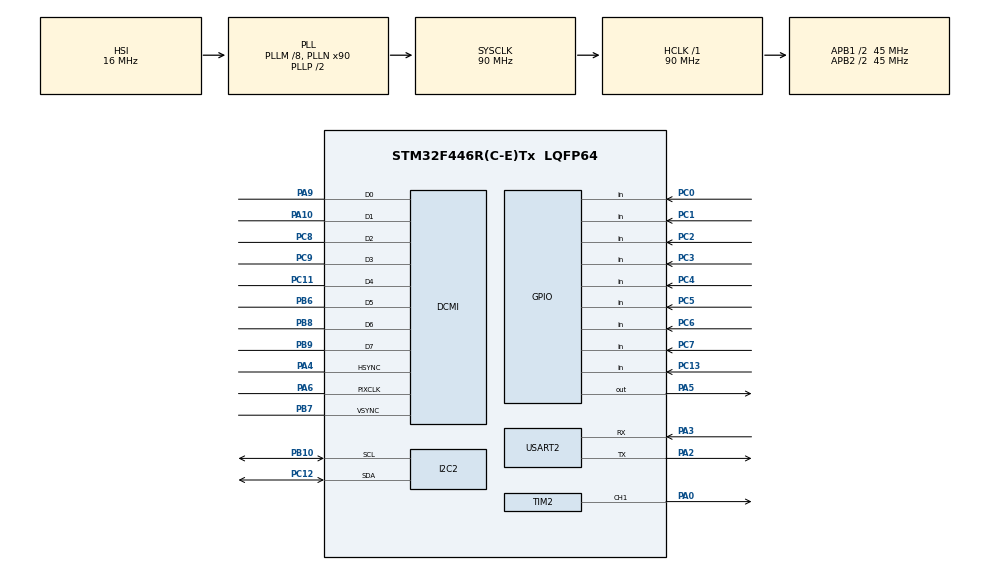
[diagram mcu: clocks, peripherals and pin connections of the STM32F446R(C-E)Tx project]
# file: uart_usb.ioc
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DCMI.ByteSelectMode=DCMI_BSM_OTHER
DCMI.HSPolarity=DCMI_HSPOLARITY_LOW
DCMI.PCKPolarity=DCMI_PCKPOLARITY_RISING
DCMI.VSPolarity=DCMI_VSPOLARITY_HIGH
Dma.DCMI.1.Direction=DMA_PERIPH_TO_MEMORY
Dma.DCMI.1.FIFOMode=DMA_FIFOMODE_DISABLE
Dma.DCMI.1.Instance=DMA2_Stream1
Dma.DCMI.1.MemDataAlignment=DMA_MDATAALIGN_WORD
Dma.DCMI.1.MemInc=DMA_MINC_ENABLE
Dma.DCMI.1.Mode=DMA_NORMAL
Dma.DCMI.1.PeriphDataAlignment=DMA_PDATAALIGN_WORD
Dma.DCMI.1.PeriphInc=DMA_PINC_DISABLE
Dma.DCMI.1.Priority=DMA_PRIORITY_LOW
Dma.MEMTOMEM.0.Direction=DMA_MEMORY_TO_MEMORY
Dma.MEMTOMEM.0.FIFOMode=DMA_FIFOMODE_ENABLE
Dma.MEMTOMEM.0.FIFOThreshold=DMA_FIFO_THRESHOLD_FULL
Dma.MEMTOMEM.0.Instance=DMA2_Stream0
Dma.MEMTOMEM.0.MemBurst=DMA_MBURST_SINGLE
Dma.MEMTOMEM.0.MemDataAlignment=DMA_MDATAALIGN_BYTE
Dma.MEMTOMEM.0.MemInc=DMA_MINC_ENABLE
Dma.MEMTOMEM.0.Mode=DMA_NORMAL
Dma.MEMTOMEM.0.PeriphBurst=DMA_PBURST_SINGLE
Dma.MEMTOMEM.0.PeriphDataAlignment=DMA_PDATAALIGN_BYTE
Dma.MEMTOMEM.0.PeriphInc=DMA_PINC_ENABLE
Dma.MEMTOMEM.0.Priority=DMA_PRIORITY_LOW
Dma.Request0=MEMTOMEM
Dma.Request1=DCMI
Mcu.Family=STM32F4
Mcu.Name=STM32F446R(C-E)Tx
Mcu.Package=LQFP64
NVIC.DMA2_Stream1_IRQn=true\:0\:0\:false\:false\:true\:false\:true
NVIC.PriorityGroup=NVIC_PRIORITYGROUP_4
NVIC.RCC_IRQn=true\:0\:0\:false\:true\:true\:1\:true\:false
PA0-WKUP.GPIO_Speed=GPIO_SPEED_FREQ_VERY_HIGH
PA0-WKUP.Signal=S_TIM2_CH1_ETR
PA10.GPIO_Speed=GPIO_SPEED_FREQ_VERY_HIGH
PA10.Mode=Slave_8_bits_External_Synchro
PA10.Signal=DCMI_D1
PA2.Mode=Asynchronous
PA2.Signal=USART2_TX
PA3.Mode=Asynchronous
PA3.Signal=USART2_RX
PA4.GPIO_Speed=GPIO_SPEED_FREQ_VERY_HIGH
PA4.Mode=Slave_8_bits_External_Synchro
PA4.Signal=DCMI_HSYNC
PA5.Signal=GPIO_Output
PA6.GPIO_Speed=GPIO_SPEED_FREQ_VERY_HIGH
PA6.Mode=Slave_8_bits_External_Synchro
PA6.Signal=DCMI_PIXCLK
PA9.GPIO_Speed=GPIO_SPEED_FREQ_VERY_HIGH
PA9.Mode=Slave_8_bits_External_Synchro
PA9.Signal=DCMI_D0
PB10.Mode=I2C
PB10.Signal=I2C2_SCL
PB6.GPIO_Speed=GPIO_SPEED_FREQ_VERY_HIGH
PB6.Mode=Slave_8_bits_External_Synchro
PB6.Signal=DCMI_D5
PB7.GPIO_Speed=GPIO_SPEED_FREQ_VERY_HIGH
PB7.Mode=Slave_8_bits_External_Synchro
PB7.Signal=DCMI_VSYNC
PB8.GPIO_Speed=GPIO_SPEED_FREQ_VERY_HIGH
PB8.Mode=Slave_8_bits_External_Synchro
PB8.Signal=DCMI_D6
PB9.GPIO_Speed=GPIO_SPEED_FREQ_VERY_HIGH
PB9.Mode=Slave_8_bits_External_Synchro
PB9.Signal=DCMI_D7
PC0.GPIO_PuPd=GPIO_PULLUP
PC0.Signal=GPIO_Input
PC1.GPIO_PuPd=GPIO_PULLUP
PC1.Signal=GPIO_Input
PC11.GPIO_Speed=GPIO_SPEED_FREQ_VERY_HIGH
PC11.Mode=Slave_8_bits_External_Synchro
PC11.Signal=DCMI_D4
PC12.Mode=I2C
PC12.Signal=I2C2_SDA
PC13.GPIO_PuPd=GPIO_NOPULL
PC13.Signal=GPIO_Input
PC2.GPIO_PuPd=GPIO_PULLUP
PC2.Signal=GPIO_Input
PC3.GPIO_PuPd=GPIO_PULLUP
PC3.Signal=GPIO_Input
PC4.GPIO_PuPd=GPIO_PULLUP
PC4.Signal=GPIO_Input
PC5.GPIO_PuPd=GPIO_PULLUP
PC5.Signal=GPIO_Input
PC6.GPIO_PuPd=GPIO_PULLUP
PC6.Signal=GPIO_Input
PC7.GPIO_PuPd=GPIO_PULLUP
PC7.Signal=GPIO_Input
PC8.GPIO_Speed=GPIO_SPEED_FREQ_VERY_HIGH
PC8.Mode=Slave_8_bits_External_Synchro
PC8.Signal=DCMI_D2
PC9.GPIO_Speed=GPIO_SPEED_FREQ_VERY_HIGH
PC9.Mode=Slave_8_bits_External_Synchro
PC9.Signal=DCMI_D3
ProjectManager.HeapSize=0x200
ProjectManager.StackSize=0x400
ProjectManager.TargetToolchain=SW4STM32
RCC.AHBFreq_Value=90000000
RCC.APB1CLKDivider=RCC_HCLK_DIV2
RCC.APB1Freq_Value=45000000
RCC.APB1TimFreq_Value=90000000
RCC.APB2CLKDivider=RCC_HCLK_DIV2
RCC.APB2Freq_Value=45000000
RCC.APB2TimFreq_Value=90000000
RCC.CortexFreq_Value=90000000
RCC.HCLKFreq_Value=90000000
RCC.PLLM=8
RCC.PLLN=90
RCC.SYSCLKFreq_VALUE=90000000
RCC.SYSCLKSource=RCC_SYSCLKSOURCE_PLLCLK
RCC.USBFreq_Value=90000000
RCC.VCOOutputFreq_Value=180000000
SH.S_TIM2_CH1_ETR.0=TIM2_CH1,PWM Generation1 CH1
TIM2.Channel-PWM\ Generation1\ CH1=TIM_CHANNEL_1
TIM2.OCFastMode_PWM-PWM\ Generation1\ CH1=TIM_OCFAST_ENABLE
TIM2.Period=9
TIM2.Prescaler=5
TIM2.Pulse-PWM\ Generation1\ CH1=5
USART2.OverSampling=UART_OVERSAMPLING_8
USART2.VirtualMode=VM_ASYNC
VP_TIM2_VS_ClockSourceINT.Mode=Internal
board=custom

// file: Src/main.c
/* USER CODE BEGIN Header */
/**
  ******************************************************************************
  * @file           : main.c
  * @brief          : Main program body
  ******************************************************************************
  * @attention
  *
  * <h2><center>&copy; Copyright (c) 2019 STMicroelectronics.
  * All rights reserved.</center></h2>
  *
  * This software component is licensed by ST under BSD 3-Clause license,
  * the "License"; You may not use this file except in compliance with the
  * License. You may obtain a copy of the License at:
  *                        opensource.org/licenses/BSD-3-Clause
  *
  ******************************************************************************
  */
/* USER CODE END Header */

#include "main.h"

/* USER CODE BEGIN PD */
#define LED_PORT GPIOA
#define LED GPIO_PIN_5
#define BUTTON_PORT GPIOC
#define BUTTON GPIO_PIN_13

#define SCCB_REG_ADDR 			0x01

// OV7670 camera settings
#define OV7670_REG_NUM 			123
#define SLAVE_ADDR 0x42

// Image settings
#define IMG_ROWS   					144
#define IMG_COLUMNS   			174

typedef uint32_t RET;

#define RET_OK           0x00000000
#define RET_NO_DATA      0x00000001
#define RET_DO_NOTHING   0x00000002
#define RET_ERR          0x80000001
#define RET_ERR_OF       0x80000002
#define RET_ERR_TIMEOUT  0x80000004
#define RET_ERR_STATUS   0x80000008
#define RET_ERR_PARAM    0x80000010
#define RET_ERR_FILE     0x80000020
#define RET_ERR_MEMORY   0x80000040

#define REG_BATT 0xFF

#define OV7670_QVGA_WIDTH  320
#define OV7670_QVGA_HEIGHT 240

#ifdef __GNUC__
/* With GCC/RAISONANCE, small printf (option LD Linker->Libraries->Small printf
 set to 'Yes') calls __io_putchar() */
#define PUTCHAR_PROTOTYPE int __io_putchar(int ch)
#else
#define PUTCHAR_PROTOTYPE int fputc(int ch, FILE *f)
#endif /* __GNUC__ */

/* USER CODE END PD */

DCMI_HandleTypeDef hdcmi;
DMA_HandleTypeDef hdma_dcmi;

I2C_HandleTypeDef hi2c2;

TIM_HandleTypeDef htim2;

UART_HandleTypeDef huart2;

DMA_HandleTypeDef hdma_memtomem_dma2_stream0;
/* USER CODE BEGIN PV */

const uint8_t OV7670_reg[OV7670_REG_NUM][2] = {
		{ 0x12, 0x80 },

// Image format
		{ 0x12, 0x8 },		// 0x14 = QVGA size, RGB mode; 0x8 = QCIF, YUV, 0xc = QCIF (RGB)
		{ 0xc, 0x8 }, //
		{ 0x11, 0b1000000 }, //

		{ 0xb0, 0x84 },		//Color mode (Not documented??)

		// Hardware window
		{ 0x11, 0x01 },		//PCLK settings, 15fps
		{ 0x32, 0x80 },		//HREF
		{ 0x17, 0x17 },		//HSTART
		{ 0x18, 0x05 },		//HSTOP
		{ 0x03, 0x0a },		//VREF
		{ 0x19, 0x02 },		//VSTART
		{ 0x1a, 0x7a },		//VSTOP

		// Scalling numbers
		{ 0x70, 0x3a },		//X_SCALING
		{ 0x71, 0x35 },		//Y_SCALING
		{ 0x72, 0x11 },		//DCW_SCALING
		{ 0x73, 0xf0 },		//PCLK_DIV_SCALING
		{ 0xa2, 0x02 },		//PCLK_DELAY_SCALING

		// Matrix coefficients
		{ 0x4f, 0x80 }, //
		{ 0x50, 0x80 }, //
		{ 0x51, 0x00 }, //
		{ 0x52, 0x22 }, //
		{ 0x53, 0x5e }, //
		{ 0x54, 0x80 }, //
		{ 0x58, 0x9e },

		// Gamma curve values
		{ 0x7a, 0x20 }, //
		{ 0x7b, 0x10 }, //
		{ 0x7c, 0x1e }, //
		{ 0x7d, 0x35 }, //
		{ 0x7e, 0x5a }, //
		{ 0x7f, 0x69 }, //
		{ 0x80, 0x76 }, //
		{ 0x81, 0x80 }, //
		{ 0x82, 0x88 }, //
		{ 0x83, 0x8f }, //
		{ 0x84, 0x96 }, //
		{ 0x85, 0xa3 }, //
		{ 0x86, 0xaf }, //
		{ 0x87, 0xc4 }, //
		{ 0x88, 0xd7 }, //
		{ 0x89, 0xe8 },

		// AGC and AEC parameters
		{ 0xa5, 0x05 }, //
		{ 0xab, 0x07 }, //
		{ 0x24, 0x95 }, //
		{ 0x25, 0x33 }, //
		{ 0x26, 0xe3 }, //
		{ 0x9f, 0x78 }, //
		{ 0xa0, 0x68 }, //
		{ 0xa1, 0x03 }, //
		{ 0xa6, 0xd8 }, //
		{ 0xa7, 0xd8 }, //
		{ 0xa8, 0xf0 }, //
		{ 0xa9, 0x90 }, //
		{ 0xaa, 0x94 }, //
		{ 0x10, 0x00 },

		// AWB parameters
		{ 0x43, 0x0a }, //
		{ 0x44, 0xf0 }, //
		{ 0x45, 0x34 }, //
		{ 0x46, 0x58 }, //
		{ 0x47, 0x28 }, //
		{ 0x48, 0x3a }, //
		{ 0x59, 0x88 }, //
		{ 0x5a, 0x88 }, //
		{ 0x5b, 0x44 }, //
		{ 0x5c, 0x67 }, //
		{ 0x5d, 0x49 }, //
		{ 0x5e, 0x0e }, //
		{ 0x6c, 0x0a }, //
		{ 0x6d, 0x55 }, //
		{ 0x6e, 0x11 }, //
		{ 0x6f, 0x9f }, //
		{ 0x6a, 0x40 }, //
		{ 0x01, 0x40 }, //
		{ 0x02, 0x60 }, //
		{ 0x13, 0xe7 },

		// Additional parameters
		{ 0x34, 0x11 }, //
		{ 0x3f, 0x00 }, //
		{ 0x75, 0x05 }, //
		{ 0x76, 0xe1 }, //
		{ 0x4c, 0x00 }, //
		{ 0x77, 0x01 }, //
		{ 0xb8, 0x0a }, //
		{ 0x41, 0x18 }, //
		{ 0x3b, 0x12 }, //
		{ 0xa4, 0x88 }, //
		{ 0x96, 0x00 }, //
		{ 0x97, 0x30 }, //
		{ 0x98, 0x20 }, //
		{ 0x99, 0x30 }, //
		{ 0x9a, 0x84 }, //
		{ 0x9b, 0x29 }, //
		{ 0x9c, 0x03 }, //
		{ 0x9d, 0x4c }, //
		{ 0x9e, 0x3f }, //
		{ 0x78, 0x04 }, //
		{ 0x0e, 0x61 }, //
		{ 0x0f, 0x4b }, //
		{ 0x16, 0x02 }, //
		{ 0x1e, 0x00 }, //
		{ 0x21, 0x02 }, //
		{ 0x22, 0x91 }, //
		{ 0x29, 0x07 }, //
		{ 0x33, 0x0b }, //
		{ 0x35, 0x0b }, //
		{ 0x37, 0x1d }, //
		{ 0x38, 0x71 }, //
		{ 0x39, 0x2a }, //
		{ 0x3c, 0x78 }, //
		{ 0x4d, 0x40 }, //
		{ 0x4e, 0x20 }, //
		{ 0x69, 0x00 }, //
		{ 0x6b, 0x3a }, //
		{ 0x74, 0x10 }, //
		{ 0x8d, 0x4f }, //
		{ 0x8e, 0x00 }, //
		{ 0x8f, 0x00 }, //
		{ 0x90, 0x00 }, //
		{ 0x91, 0x00 }, //
		{ 0x96, 0x00 }, //
		{ 0x9a, 0x00 }, //
		{ 0xb1, 0x0c }, //
		{ 0xb2, 0x0e }, //
		{ 0xb3, 0x82 }, //
		{ 0x4b, 0x01 },
};

/* USER CODE END PV */

void SystemClock_Config(void);
static void MX_GPIO_Init(void);
static void MX_DMA_Init(void);
static void MX_USART2_UART_Init(void);
static void MX_TIM2_Init(void);
static void MX_DCMI_Init(void);
static void MX_I2C2_Init(void);
static void MX_NVIC_Init(void);

int main(void)
{

  /* MCU Configuration--------------------------------------------------------*/

  /* Reset of all peripherals, Initializes the Flash interface and the Systick. */
  HAL_Init();

  /* Configure the system clock */
  SystemClock_Config();

  /* Initialize all configured peripherals */
  MX_GPIO_Init();
  MX_DMA_Init();
  MX_USART2_UART_Init();
  MX_TIM2_Init();
  MX_DCMI_Init();
  MX_I2C2_Init();

  /* Initialize interrupts */
  MX_NVIC_Init();
  /* USER CODE BEGIN 2 */
  __enable_irq();
  HAL_TIM_Base_Start(&htim2);

  HAL_TIM_PWM_Start(&htim2,TIM_CHANNEL_1);

  uint8_t dat = 0x8F;
  uint8_t retDat;

//  HAL_I2C_Master_Receive(&hi2c2, 0x21, &dat, 1, 100);

//  hi2c2->Instance->DR = 0x43;
//  __HAL_I2C_ENABLE(&hi2c2);
//  SET_BIT(hi2c2.Instance->CR1, I2C_CR1_START);
//
//  hi2c2.Instance->DR = I2C_7BIT_ADD_WRITE(0x42);
//
//  SET_BIT(hi2c2.Instance->CR1, I2C_CR1_STOP);

//  I2C_MasterRequestWrite(&hi2c2, 0x21, 100, 10);
  HAL_StatusTypeDef ret;

//  ret = HAL_I2C_Mem_Write(&hi2c2, 0x81, 0x12, 1, &dat, 1, 100);
//  printf("i2c return code: %d", ret);

  printf("\r\n\r\n");

//
//  HAL_I2C_Mem_Read(&hi2c2, 0x42, 0x11, 1, &retDat, 1, 0xffff);
//  printf("i2c return val: %d\r\n", retDat);
//  HAL_Delay(4);
//  HAL_I2C_Mem_Read(&hi2c2, 0x21, 0x13, 1, &retDat, 1, 100);
//    printf("i2c return val: %d\r\n", retDat);
//    HAL_Delay(5);
//    HAL_I2C_Master_Transmit(&hi2c2, 0x21, &dat, 1, 0xffff);
//    HAL_StatusTypeDef HAL_I2C_Master_Transmit(I2C_HandleTypeDef *hi2c, uint16_t DevAddress, uint8_t *pData, uint16_t Size, uint32_t Timeout)

//HAL_I2C_Master_Receive(hi2c, DevAddress, pData, Size, Timeout)

  __HAL_TIM_SET_COMPARE()

//  SET_BIT(I2C2->CR1, I2C_CR1_POS);
//  if((&hi2c2.Instance->CCR) & I2C_CR1_PEC)
//	  printf("pec on!\r\n");

    printf("i2c setup 0x%X === 0x%x\r\n", (hi2c2.Instance->CR1 & 0xffff), I2C2->CR1);

	  printf("lock: 0x%x \r\n", hi2c2.Lock);
	  hi2c2.Lock |= HAL_LOCKED;
	  printf("lock: 0x%x \r\n", hi2c2.Lock);
	  printf("SB flag: 0x%x \r\n", hi2c2.Instance->SR1);

	  hi2c2.Instance->CR1 |= I2C_CR1_ACK;

	  I2C_RequestMemoryRead(&hi2c2, 0x43, 0x12, I2C_MEMADD_SIZE_8BIT, 100, HAL_GetTick());

  /* USER CODE END 2 */

  /* Infinite loop */
  while (1)
  {

    /* USER CODE BEGIN 3 */

//	  printf("Tim2 val: %d.\n\r", htim2.Instance->CNT);
//	  printf("ticks: %d\r\n", HAL_GetTick());
	  HAL_Delay(50);

	  I2C_RequestMemoryRead(&hi2c2, 0x43, 0x12, I2C_MEMADD_SIZE_8BIT, 100, HAL_GetTick());
//	  static HAL_StatusTypeDef I2C_RequestMemoryRead(I2C_HandleTypeDef *hi2c, uint16_t DevAddress, uint16_t MemAddress, uint16_t MemAddSize, uint32_t Timeout, uint32_t Tickstart)

//	  hi2c2.Instance->CR1 |= I2C_CR1_PE;
//	  hi2c2.Instance->CR1 |= I2C_CR1_START;
//	  printf("SB flag: 0x%x \r\n", hi2c2.Instance->SR1);
//	  hi2c2.Instance->DR = (0x43);
//	  hi2c2.Instance->CR1 |= I2C_CR1_STOP;
//	  if(!(hi2c2.Instance->SR1 & I2C_CR1_ACK))
//	  printf("no SB flag: 0x%x \r\n", hi2c2.Instance->SR1);
//	  HAL_Delay(3);
//	  hi2c2.Instance->CR1 |= I2C_CR1_START;
//	  hi2c2.Instance->DR = (0x12);
//	  HAL_Delay(5);
//	  hi2c2.Instance->CR1 |= I2C_CR1_STOP;

//	  printf("reg val: 0x%x\r\n", hi2c2.Instance->DR);

//	  hi2c2.Instance.CR1 |= I2C_CR1_STOP;
//
//	  if(HAL_GPIO_ReadPin(BUTTON_PORT, BUTTON)){
//		  HAL_TIM_Base_Start(&htim2);
//
//	  }
//	  else{
//		  HAL_TIM_Base_Stop(&htim2);
//		  printf("Button ON!\r\n");
//	  }

  }
  /* USER CODE END 3 */
}

void SystemClock_Config(void)
{
  RCC_OscInitTypeDef RCC_OscInitStruct = {0};
  RCC_ClkInitTypeDef RCC_ClkInitStruct = {0};

  /** Configure the main internal regulator output voltage
  */
  __HAL_RCC_PWR_CLK_ENABLE();
  __HAL_PWR_VOLTAGESCALING_CONFIG(PWR_REGULATOR_VOLTAGE_SCALE3);
  /** Initializes the CPU, AHB and APB busses clocks
  */
  RCC_OscInitStruct.OscillatorType = RCC_OSCILLATORTYPE_HSI;
  RCC_OscInitStruct.HSIState = RCC_HSI_ON;
  RCC_OscInitStruct.HSICalibrationValue = RCC_HSICALIBRATION_DEFAULT;
  RCC_OscInitStruct.PLL.PLLState = RCC_PLL_ON;
  RCC_OscInitStruct.PLL.PLLSource = RCC_PLLSOURCE_HSI;
  RCC_OscInitStruct.PLL.PLLM = 8;
  RCC_OscInitStruct.PLL.PLLN = 90;
  RCC_OscInitStruct.PLL.PLLP = RCC_PLLP_DIV2;
  RCC_OscInitStruct.PLL.PLLQ = 2;
  RCC_OscInitStruct.PLL.PLLR = 2;
  if (HAL_RCC_OscConfig(&RCC_OscInitStruct) != HAL_OK)
  {
    Error_Handler();
  }
  /** Initializes the CPU, AHB and APB busses clocks
  */
  RCC_ClkInitStruct.ClockType = RCC_CLOCKTYPE_HCLK|RCC_CLOCKTYPE_SYSCLK
                              |RCC_CLOCKTYPE_PCLK1|RCC_CLOCKTYPE_PCLK2;
  RCC_ClkInitStruct.SYSCLKSource = RCC_SYSCLKSOURCE_PLLCLK;
  RCC_ClkInitStruct.AHBCLKDivider = RCC_SYSCLK_DIV1;
  RCC_ClkInitStruct.APB1CLKDivider = RCC_HCLK_DIV2;
  RCC_ClkInitStruct.APB2CLKDivider = RCC_HCLK_DIV2;

  if (HAL_RCC_ClockConfig(&RCC_ClkInitStruct, FLASH_LATENCY_2) != HAL_OK)
  {
    Error_Handler();
  }
}

/**
  * @brief NVIC Configuration.
  * @retval None
  */
static void MX_NVIC_Init(void)
{
  /* RCC_IRQn interrupt configuration */
  HAL_NVIC_SetPriority(RCC_IRQn, 0, 0);
  HAL_NVIC_EnableIRQ(RCC_IRQn);
}

static void MX_DCMI_Init(void)
{

  hdcmi.Instance = DCMI;
  hdcmi.Init.SynchroMode = DCMI_SYNCHRO_HARDWARE;
  hdcmi.Init.PCKPolarity = DCMI_PCKPOLARITY_RISING;
  hdcmi.Init.VSPolarity = DCMI_VSPOLARITY_HIGH;
  hdcmi.Init.HSPolarity = DCMI_HSPOLARITY_LOW;
  hdcmi.Init.CaptureRate = DCMI_CR_ALL_FRAME;
  hdcmi.Init.ExtendedDataMode = DCMI_EXTEND_DATA_8B;
  hdcmi.Init.JPEGMode = DCMI_JPEG_DISABLE;
  hdcmi.Init.ByteSelectMode = DCMI_BSM_OTHER;
  hdcmi.Init.ByteSelectStart = DCMI_OEBS_ODD;
  hdcmi.Init.LineSelectMode = DCMI_LSM_ALL;
  hdcmi.Init.LineSelectStart = DCMI_OELS_ODD;
  if (HAL_DCMI_Init(&hdcmi) != HAL_OK)
  {
    Error_Handler();
  }

}

static void MX_I2C2_Init(void)
{

  hi2c2.Instance = I2C2;
  hi2c2.Init.ClockSpeed = 100000;
  hi2c2.Init.DutyCycle = I2C_DUTYCYCLE_2;
  hi2c2.Init.OwnAddress1 = 0;
  hi2c2.Init.AddressingMode = I2C_ADDRESSINGMODE_7BIT;
  hi2c2.Init.DualAddressMode = I2C_DUALADDRESS_DISABLE;
  hi2c2.Init.OwnAddress2 = 0;
  hi2c2.Init.GeneralCallMode = I2C_GENERALCALL_DISABLE;
  hi2c2.Init.NoStretchMode = I2C_NOSTRETCH_DISABLE;
  if (HAL_I2C_Init(&hi2c2) != HAL_OK)
  {
    Error_Handler();
  }
  printf("I2C init start");
  HAL_I2C_Init(&hi2c2);
}

static void MX_TIM2_Init(void)
{

  TIM_ClockConfigTypeDef sClockSourceConfig = {0};
  TIM_MasterConfigTypeDef sMasterConfig = {0};
  TIM_OC_InitTypeDef sConfigOC = {0};

  htim2.Instance = TIM2;
  htim2.Init.Prescaler = 1;
  htim2.Init.CounterMode = TIM_COUNTERMODE_UP;
  htim2.Init.Period = 9;
  htim2.Init.ClockDivision = TIM_CLOCKDIVISION_DIV1;
  htim2.Init.AutoReloadPreload = TIM_AUTORELOAD_PRELOAD_DISABLE;
  if (HAL_TIM_Base_Init(&htim2) != HAL_OK)
  {
    Error_Handler();
  }
  sClockSourceConfig.ClockSource = TIM_CLOCKSOURCE_INTERNAL;
  if (HAL_TIM_ConfigClockSource(&htim2, &sClockSourceConfig) != HAL_OK)
  {
    Error_Handler();
  }
  if (HAL_TIM_PWM_Init(&htim2) != HAL_OK)
  {
    Error_Handler();
  }
  sMasterConfig.MasterOutputTrigger = TIM_TRGO_ENABLE;
  sMasterConfig.MasterSlaveMode = TIM_MASTERSLAVEMODE_DISABLE;
  if (HAL_TIMEx_MasterConfigSynchronization(&htim2, &sMasterConfig) != HAL_OK)
  {
    Error_Handler();
  }
  sConfigOC.OCMode = TIM_OCMODE_PWM2;
  sConfigOC.Pulse = 4;
  sConfigOC.OCPolarity = TIM_OCPOLARITY_HIGH;
  sConfigOC.OCFastMode = TIM_OCFAST_ENABLE;
  if (HAL_TIM_PWM_ConfigChannel(&htim2, &sConfigOC, TIM_CHANNEL_1) != HAL_OK)
  {
    Error_Handler();
  }
  HAL_TIM_MspPostInit(&htim2);

}

static void MX_USART2_UART_Init(void)
{

  huart2.Instance = USART2;
  huart2.Init.BaudRate = 1000000;
  huart2.Init.WordLength = UART_WORDLENGTH_8B;
  huart2.Init.StopBits = UART_STOPBITS_1;
  huart2.Init.Parity = UART_PARITY_NONE;
  huart2.Init.Mode = UART_MODE_TX_RX;
  huart2.Init.HwFlowCtl = UART_HWCONTROL_NONE;
  huart2.Init.OverSampling = UART_OVERSAMPLING_8;
  if (HAL_UART_Init(&huart2) != HAL_OK)
  {
    Error_Handler();
  }

}

static void MX_DMA_Init(void)
{
  /* DMA controller clock enable */
  __HAL_RCC_DMA2_CLK_ENABLE();

  /* Configure DMA request hdma_memtomem_dma2_stream0 on DMA2_Stream0 */
  hdma_memtomem_dma2_stream0.Instance = DMA2_Stream0;
  hdma_memtomem_dma2_stream0.Init.Channel = DMA_CHANNEL_0;
  hdma_memtomem_dma2_stream0.Init.Direction = DMA_MEMORY_TO_MEMORY;
  hdma_memtomem_dma2_stream0.Init.PeriphInc = DMA_PINC_ENABLE;
  hdma_memtomem_dma2_stream0.Init.MemInc = DMA_MINC_ENABLE;
  hdma_memtomem_dma2_stream0.Init.PeriphDataAlignment = DMA_PDATAALIGN_BYTE;
  hdma_memtomem_dma2_stream0.Init.MemDataAlignment = DMA_MDATAALIGN_BYTE;
  hdma_memtomem_dma2_stream0.Init.Mode = DMA_NORMAL;
  hdma_memtomem_dma2_stream0.Init.Priority = DMA_PRIORITY_LOW;
  hdma_memtomem_dma2_stream0.Init.FIFOMode = DMA_FIFOMODE_ENABLE;
  hdma_memtomem_dma2_stream0.Init.FIFOThreshold = DMA_FIFO_THRESHOLD_FULL;
  hdma_memtomem_dma2_stream0.Init.MemBurst = DMA_MBURST_SINGLE;
  hdma_memtomem_dma2_stream0.Init.PeriphBurst = DMA_PBURST_SINGLE;
  if (HAL_DMA_Init(&hdma_memtomem_dma2_stream0) != HAL_OK)
  {
    Error_Handler( );
  }

  /* DMA interrupt init */
  /* DMA2_Stream1_IRQn interrupt configuration */
  HAL_NVIC_SetPriority(DMA2_Stream1_IRQn, 0, 0);
  HAL_NVIC_EnableIRQ(DMA2_Stream1_IRQn);

}

static void MX_GPIO_Init(void)
{
  GPIO_InitTypeDef GPIO_InitStruct = {0};

  /* GPIO Ports Clock Enable */
  __HAL_RCC_GPIOC_CLK_ENABLE();
  __HAL_RCC_GPIOA_CLK_ENABLE();
  __HAL_RCC_GPIOB_CLK_ENABLE();

  /*Configure GPIO pin Output Level */
  HAL_GPIO_WritePin(GPIOA, GPIO_PIN_5, GPIO_PIN_RESET);

  /*Configure GPIO pin : PC13 */
  GPIO_InitStruct.Pin = GPIO_PIN_13;
  GPIO_InitStruct.Mode = GPIO_MODE_INPUT;
  GPIO_InitStruct.Pull = GPIO_NOPULL;
  HAL_GPIO_Init(GPIOC, &GPIO_InitStruct);

  /*Configure GPIO pins : PC0 PC1 PC2 PC3
                           PC4 PC5 PC6 PC7 */
  GPIO_InitStruct.Pin = GPIO_PIN_0|GPIO_PIN_1|GPIO_PIN_2|GPIO_PIN_3
                          |GPIO_PIN_4|GPIO_PIN_5|GPIO_PIN_6|GPIO_PIN_7;
  GPIO_InitStruct.Mode = GPIO_MODE_INPUT;
  GPIO_InitStruct.Pull = GPIO_PULLUP;
  HAL_GPIO_Init(GPIOC, &GPIO_InitStruct);

  /*Configure GPIO pin : PA5 */
  GPIO_InitStruct.Pin = GPIO_PIN_5;
  GPIO_InitStruct.Mode = GPIO_MODE_OUTPUT_PP;
  GPIO_InitStruct.Pull = GPIO_NOPULL;
  GPIO_InitStruct.Speed = GPIO_SPEED_FREQ_LOW;
  HAL_GPIO_Init(GPIOA, &GPIO_InitStruct);

}

/* USER CODE BEGIN 4 */

void HAL_TIM_PeriodElapsedCallback(TIM_HandleTypeDef *htim){
//		 if(htim->Instance == TIM2) // Je¿eli przerwanie pochodzi od timera 2
//			 HAL_GPIO_TogglePin(LED_PORT, LED);
}

PUTCHAR_PROTOTYPE
{
 /* Place your implementation of fputc here */
 /* e.g. write a character to the USART2 and Loop until the end of transmission */
 HAL_UART_Transmit(&huart2, (uint8_t *)&ch, 1, 0xFFFF);

return ch;
}

//=======================
// 			OV7670 funcs
//=======================

//void Serial_log(char *s) {
//	while (*s) {
//		while (USART_GetFlagStatus(USART2, USART_FLAG_TXE) == RESET)
//			; // Wait for Empty
//
//		USART_SendData(USART2, *s++); // Send Char
//	}
//}

void ov7670_write(uint8_t regAddr, uint8_t data)
{
  HAL_StatusTypeDef ret;
  do {
	ret = HAL_I2C_Mem_Write(&hi2c2, SLAVE_ADDR, regAddr, I2C_MEMADD_SIZE_8BIT, &data, 1, 100);
	printf("%d \r\n", ret);
  } while (ret != HAL_OK && 0);
}

void ov7670_config(void)
{
  ov7670_stopCap();
  ov7670_write(0x12, 0x80);  // RESET
  HAL_Delay(30);
  for(int i = 0; i < 123 ; i++) {
    ov7670_write(OV7670_reg[i][0], OV7670_reg[i][1]);
//    printf("%d. 0x%02X === 0x%02X\r\n", i, OV7670_reg[i][0], OV7670_reg[i][1]);
    HAL_Delay(1);
  }

  printf("REG WRITE DONE! \r\n");
}

RET ov7670_startCap(uint32_t capMode, uint32_t destAddress)
{
  ov7670_stopCap();
//  if (capMode == OV7670_CAP_CONTINUOUS) {
//    /* note: continuous mode automatically invokes DCMI, but DMA needs to be invoked manually */
//    s_destAddressForContiuousMode = destAddress;
//    HAL_DCMI_Start_DMA(hdcmi, DCMI_MODE_CONTINUOUS, destAddress, OV7670_QVGA_WIDTH * OV7670_QVGA_HEIGHT/2);
//  } else if (capMode == OV7670_CAP_SINGLE_FRAME) {
//    s_destAddressForContiuousMode = 0;
    HAL_DCMI_Start_DMA(&hdcmi, DCMI_MODE_SNAPSHOT, destAddress, OV7670_QVGA_WIDTH * OV7670_QVGA_HEIGHT/2);
//  }

  return RET_OK;
}

void ov7670_stopCap()
{
  HAL_DCMI_Stop(&hdcmi);
//  HAL_Delay(30);
  printf("CAM STOP\r\n");
}

/* USER CODE END 4 */

void Error_Handler(void)
{
  /* USER CODE BEGIN Error_Handler_Debug */
  /* User can add his own implementation to report the HAL error return state */
	printf("ERROR!\r\n");
  /* USER CODE END Error_Handler_Debug */
}

/************************ (C) COPYRIGHT STMicroelectronics *****END OF FILE****/
